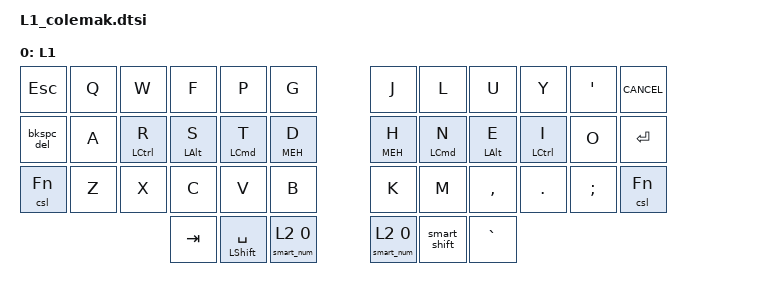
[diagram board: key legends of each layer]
/**
 * Alpha Layer - Colemak
 */

/ {
  keymap {
    compatible = "zmk,keymap";

    colemak_layer {
      display-name = "L1";
      bindings = <
// ╭───────────────┬───────────────┬───────────────┬───────────────┬───────────────┬───────────────╮   ╭───────────────┬───────────────┬───────────────┬───────────────┬───────────────┬───────────────╮
// │0              │1              │2              │3              │4              │5              │   │6              │7              │8              │9              │10             │11             │
    &kp ESC         &kp Q           &kp W           &kp F           &kp P           &kp G               &kp J           &kp L           &kp U           &kp Y           &kp SQT         &kp K_CANCEL
// ├───────────────├───────────────┼───────────────┼───────────────┼───────────────┼───────────────┤   ├───────────────├───────────────┼───────────────┼───────────────┼───────────────┼───────────────┤
// │12             │13             │14             │15             │16             │17             │   │18             │19             │20             │21             │22             │23             │
    &bkspc_del      &kp A           &hrml LCTRL R   &hrml LALT S    &hrml LCMD T    &hrml MEH D         &hrmr MEH H     &hrmr LCMD N    &hrmr LALT E    &hrmr LCTRL I   &kp O           &kp ENTER
// ├───────────────├───────────────┼───────────────┼───────────────┼───────────────┼───────────────┤   ├───────────────├───────────────┼───────────────┼───────────────┼───────────────┼───────────────┤
// │24             │25             │26             │27             │28             │29             │   │30             │31             │32             │33             │34             │35             │
    &csl Fn         &kp Z           &kp X           &kp C           &kp V           &kp B               &kp K           &kp M           &kp COMMA       &kp DOT         &kp SEMICOLON   &csl Fn
// ╰───────────────┴───────────────┴───────────────┼───────────────┼───────────────┼───────────────┤   ├───────────────├───────────────┼───────────────┼───────────────┴───────────────┴───────────────╯
//                                                 │36             │37             │38             │   │39             │40             │41             │
                                                    &kp TAB         &mt LSHFT SPACE &smart_num L2 0     &smart_num L2 0 &smart_shift    &kp GRAVE
//                                                 ╰───────────────┴───────────────┴───────────────╯   ╰───────────────┴───────────────┴───────────────╯
      >;
    };
  };
};
